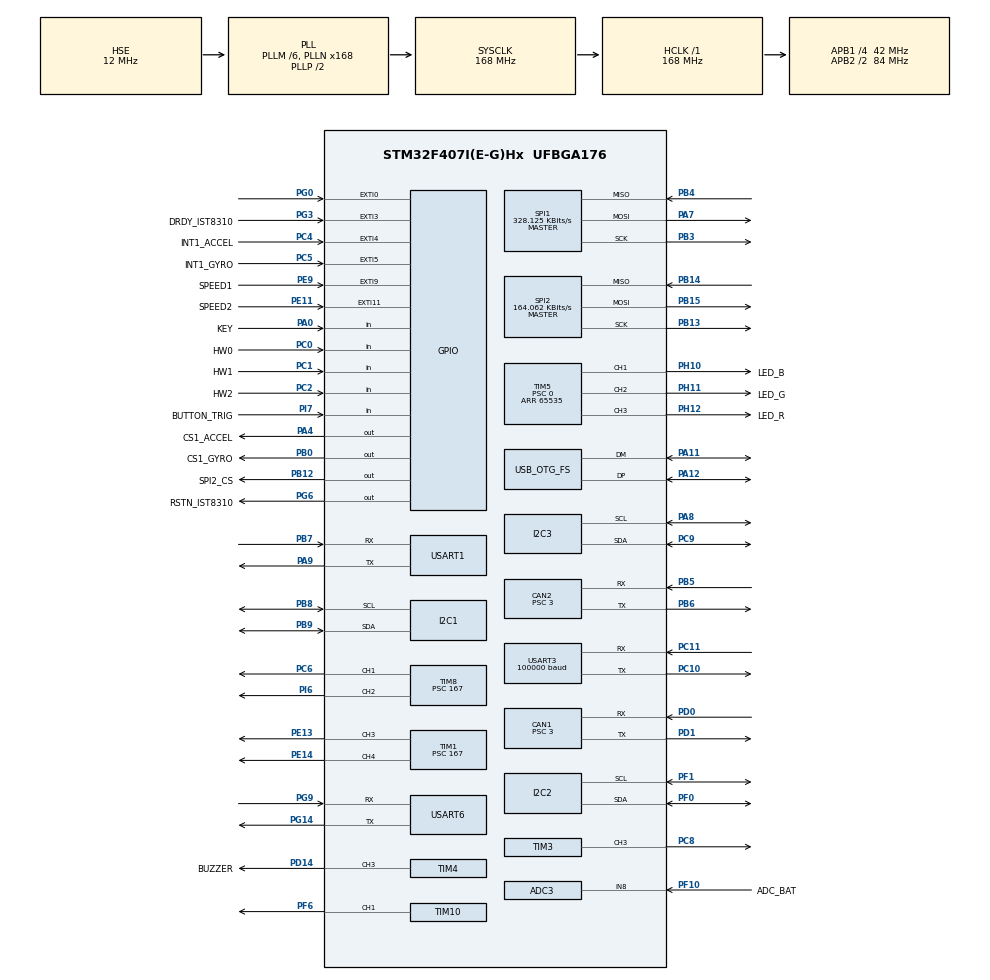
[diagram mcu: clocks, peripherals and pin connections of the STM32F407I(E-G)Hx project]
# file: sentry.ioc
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ADC1.Channel-0\#ChannelRegularConversion=ADC_CHANNEL_TEMPSENSOR
ADC1.ClockPrescaler=ADC_CLOCK_SYNC_PCLK_DIV6
ADC1.NbrOfConversionFlag=1
ADC1.Rank-0\#ChannelRegularConversion=1
ADC1.SamplingTime-0\#ChannelRegularConversion=ADC_SAMPLETIME_3CYCLES
ADC1.master=1
ADC3.Channel-0\#ChannelRegularConversion=ADC_CHANNEL_8
ADC3.ClockPrescaler=ADC_CLOCK_SYNC_PCLK_DIV6
ADC3.NbrOfConversionFlag=1
ADC3.Rank-0\#ChannelRegularConversion=1
ADC3.SamplingTime-0\#ChannelRegularConversion=ADC_SAMPLETIME_3CYCLES
CAN1.BS1=CAN_BS1_10TQ
CAN1.BS2=CAN_BS2_3TQ
CAN1.CalculateBaudRate=1000000
CAN1.CalculateTimeQuantum=71.42857142857143
CAN1.Prescaler=3
CAN2.BS1=CAN_BS1_10TQ
CAN2.BS2=CAN_BS2_3TQ
CAN2.CalculateBaudRate=1000000
CAN2.CalculateTimeQuantum=71.42857142857143
CAN2.Prescaler=3
Dma.I2C2_TX.2.Direction=DMA_MEMORY_TO_PERIPH
Dma.I2C2_TX.2.FIFOMode=DMA_FIFOMODE_DISABLE
Dma.I2C2_TX.2.Instance=DMA1_Stream7
Dma.I2C2_TX.2.MemDataAlignment=DMA_MDATAALIGN_BYTE
Dma.I2C2_TX.2.MemInc=DMA_MINC_ENABLE
Dma.I2C2_TX.2.Mode=DMA_NORMAL
Dma.I2C2_TX.2.PeriphDataAlignment=DMA_PDATAALIGN_BYTE
Dma.I2C2_TX.2.PeriphInc=DMA_PINC_DISABLE
Dma.I2C2_TX.2.Priority=DMA_PRIORITY_HIGH
Dma.Request0=SPI1_RX
Dma.Request1=SPI1_TX
Dma.Request2=I2C2_TX
Dma.Request3=USART3_RX
Dma.Request4=USART6_RX
Dma.Request5=USART6_TX
Dma.Request6=USART1_TX
Dma.Request7=USART1_RX
Dma.SPI1_RX.0.Direction=DMA_PERIPH_TO_MEMORY
Dma.SPI1_RX.0.FIFOMode=DMA_FIFOMODE_DISABLE
Dma.SPI1_RX.0.Instance=DMA2_Stream2
Dma.SPI1_RX.0.MemDataAlignment=DMA_MDATAALIGN_BYTE
Dma.SPI1_RX.0.MemInc=DMA_MINC_ENABLE
Dma.SPI1_RX.0.Mode=DMA_NORMAL
Dma.SPI1_RX.0.PeriphDataAlignment=DMA_PDATAALIGN_BYTE
Dma.SPI1_RX.0.PeriphInc=DMA_PINC_DISABLE
Dma.SPI1_RX.0.Priority=DMA_PRIORITY_VERY_HIGH
Dma.SPI1_TX.1.Direction=DMA_MEMORY_TO_PERIPH
Dma.SPI1_TX.1.FIFOMode=DMA_FIFOMODE_DISABLE
Dma.SPI1_TX.1.Instance=DMA2_Stream3
Dma.SPI1_TX.1.MemDataAlignment=DMA_MDATAALIGN_BYTE
Dma.SPI1_TX.1.MemInc=DMA_MINC_ENABLE
Dma.SPI1_TX.1.Mode=DMA_NORMAL
Dma.SPI1_TX.1.PeriphDataAlignment=DMA_PDATAALIGN_BYTE
Dma.SPI1_TX.1.PeriphInc=DMA_PINC_DISABLE
Dma.SPI1_TX.1.Priority=DMA_PRIORITY_HIGH
Dma.USART1_RX.7.Direction=DMA_PERIPH_TO_MEMORY
Dma.USART1_RX.7.FIFOMode=DMA_FIFOMODE_DISABLE
Dma.USART1_RX.7.Instance=DMA2_Stream5
Dma.USART1_RX.7.MemDataAlignment=DMA_MDATAALIGN_BYTE
Dma.USART1_RX.7.MemInc=DMA_MINC_ENABLE
Dma.USART1_RX.7.Mode=DMA_NORMAL
Dma.USART1_RX.7.PeriphDataAlignment=DMA_PDATAALIGN_BYTE
Dma.USART1_RX.7.PeriphInc=DMA_PINC_DISABLE
Dma.USART1_RX.7.Priority=DMA_PRIORITY_LOW
Dma.USART1_TX.6.Direction=DMA_MEMORY_TO_PERIPH
Dma.USART1_TX.6.FIFOMode=DMA_FIFOMODE_DISABLE
Dma.USART1_TX.6.Instance=DMA2_Stream7
Dma.USART1_TX.6.MemDataAlignment=DMA_MDATAALIGN_BYTE
Dma.USART1_TX.6.MemInc=DMA_MINC_ENABLE
Dma.USART1_TX.6.Mode=DMA_NORMAL
Dma.USART1_TX.6.PeriphDataAlignment=DMA_PDATAALIGN_BYTE
Dma.USART1_TX.6.PeriphInc=DMA_PINC_DISABLE
Dma.USART1_TX.6.Priority=DMA_PRIORITY_MEDIUM
Dma.USART3_RX.3.Direction=DMA_PERIPH_TO_MEMORY
Dma.USART3_RX.3.FIFOMode=DMA_FIFOMODE_DISABLE
Dma.USART3_RX.3.Instance=DMA1_Stream1
Dma.USART3_RX.3.MemDataAlignment=DMA_MDATAALIGN_BYTE
Dma.USART3_RX.3.MemInc=DMA_MINC_ENABLE
Dma.USART3_RX.3.Mode=DMA_NORMAL
Dma.USART3_RX.3.PeriphDataAlignment=DMA_PDATAALIGN_BYTE
Dma.USART3_RX.3.PeriphInc=DMA_PINC_DISABLE
Dma.USART3_RX.3.Priority=DMA_PRIORITY_HIGH
Dma.USART6_RX.4.Direction=DMA_PERIPH_TO_MEMORY
Dma.USART6_RX.4.FIFOMode=DMA_FIFOMODE_DISABLE
Dma.USART6_RX.4.Instance=DMA2_Stream1
Dma.USART6_RX.4.MemDataAlignment=DMA_MDATAALIGN_BYTE
Dma.USART6_RX.4.MemInc=DMA_MINC_ENABLE
Dma.USART6_RX.4.Mode=DMA_NORMAL
Dma.USART6_RX.4.PeriphDataAlignment=DMA_PDATAALIGN_BYTE
Dma.USART6_RX.4.PeriphInc=DMA_PINC_DISABLE
Dma.USART6_RX.4.Priority=DMA_PRIORITY_HIGH
Dma.USART6_TX.5.Direction=DMA_MEMORY_TO_PERIPH
Dma.USART6_TX.5.FIFOMode=DMA_FIFOMODE_DISABLE
Dma.USART6_TX.5.Instance=DMA2_Stream6
Dma.USART6_TX.5.MemDataAlignment=DMA_MDATAALIGN_BYTE
Dma.USART6_TX.5.MemInc=DMA_MINC_ENABLE
Dma.USART6_TX.5.Mode=DMA_NORMAL
Dma.USART6_TX.5.PeriphDataAlignment=DMA_PDATAALIGN_BYTE
Dma.USART6_TX.5.PeriphInc=DMA_PINC_DISABLE
Dma.USART6_TX.5.Priority=DMA_PRIORITY_MEDIUM
FREERTOS.INCLUDE_eTaskGetState=1
FREERTOS.INCLUDE_pcTaskGetTaskName=1
FREERTOS.INCLUDE_uxTaskGetStackHighWaterMark=1
FREERTOS.INCLUDE_vTaskCleanUpResources=1
FREERTOS.INCLUDE_vTaskDelayUntil=1
FREERTOS.INCLUDE_xEventGroupSetBitFromISR=1
FREERTOS.INCLUDE_xQueueGetMutexHolder=1
FREERTOS.INCLUDE_xSemaphoreGetMutexHolder=1
FREERTOS.INCLUDE_xTaskAbortDelay=1
FREERTOS.INCLUDE_xTaskGetCurrentTaskHandle=1
FREERTOS.INCLUDE_xTaskGetHandle=1
FREERTOS.INCLUDE_xTimerPendFunctionCall=1
FREERTOS.Tasks01=test,24,128,test_task,As weak,NULL,Dynamic,NULL,NULL
FREERTOS.configTOTAL_HEAP_SIZE=24576
I2C1.I2C_Mode=I2C_Fast
I2C2.I2C_Mode=I2C_Fast
I2C3.I2C_Mode=I2C_Fast
Mcu.Family=STM32F4
Mcu.Name=STM32F407I(E-G)Hx
Mcu.Package=UFBGA176
NVIC.CAN1_RX0_IRQn=true\:6\:0\:true\:false\:true\:true\:true\:true\:true
NVIC.CAN2_RX0_IRQn=true\:6\:0\:true\:false\:true\:true\:true\:true\:true
NVIC.DMA1_Stream1_IRQn=true\:5\:0\:true\:false\:false\:true\:false\:false\:true
NVIC.DMA1_Stream7_IRQn=true\:5\:0\:true\:false\:false\:true\:false\:true\:true
NVIC.DMA2_Stream1_IRQn=true\:5\:0\:true\:false\:true\:true\:false\:true\:true
NVIC.DMA2_Stream2_IRQn=true\:5\:0\:true\:false\:false\:true\:false\:true\:true
NVIC.DMA2_Stream3_IRQn=true\:5\:0\:true\:false\:false\:true\:false\:true\:true
NVIC.DMA2_Stream5_IRQn=true\:5\:0\:false\:false\:true\:true\:false\:true\:true
NVIC.DMA2_Stream6_IRQn=true\:5\:0\:true\:false\:true\:true\:false\:true\:true
NVIC.DMA2_Stream7_IRQn=true\:5\:0\:true\:false\:true\:true\:false\:true\:true
NVIC.EXTI0_IRQn=true\:6\:0\:true\:false\:true\:true\:true\:true\:true
NVIC.EXTI15_10_IRQn=true\:5\:0\:false\:false\:true\:true\:true\:true\:true
NVIC.EXTI3_IRQn=true\:5\:0\:true\:false\:true\:true\:true\:true\:true
NVIC.EXTI4_IRQn=true\:5\:0\:true\:false\:true\:true\:true\:true\:true
NVIC.EXTI9_5_IRQn=true\:5\:0\:true\:false\:true\:true\:true\:true\:true
NVIC.OTG_FS_IRQn=true\:5\:0\:false\:false\:true\:true\:false\:true\:true
NVIC.PriorityGroup=NVIC_PRIORITYGROUP_4
NVIC.USART1_IRQn=true\:5\:0\:false\:false\:true\:true\:true\:true\:true
NVIC.USART3_IRQn=true\:4\:0\:true\:false\:false\:false\:true\:true\:true
NVIC.USART6_IRQn=true\:5\:0\:true\:false\:false\:true\:true\:true\:true
PA0-WKUP.GPIO_Label=KEY
PA0-WKUP.GPIO_PuPd=GPIO_PULLUP
PA0-WKUP.Signal=GPIO_Input
PA11.Mode=Device_Only
PA11.Signal=USB_OTG_FS_DM
PA12.Mode=Device_Only
PA12.Signal=USB_OTG_FS_DP
PA13.Mode=Serial_Wire
PA13.Signal=SYS_JTMS-SWDIO
PA14.Mode=Serial_Wire
PA14.Signal=SYS_JTCK-SWCLK
PA4.GPIO_Label=CS1_ACCEL
PA4.GPIO_PuPd=GPIO_PULLUP
PA4.GPIO_Speed=GPIO_SPEED_FREQ_HIGH
PA4.PinState=GPIO_PIN_SET
PA4.Signal=GPIO_Output
PA7.GPIO_PuPd=GPIO_PULLUP
PA7.Mode=Full_Duplex_Master
PA7.Signal=SPI1_MOSI
PA8.GPIO_Pu=GPIO_PULLUP
PA8.Mode=I2C
PA8.Signal=I2C3_SCL
PA9.Mode=Asynchronous
PA9.Signal=USART1_TX
PB0.GPIO_Label=CS1_GYRO
PB0.GPIO_PuPd=GPIO_PULLUP
PB0.GPIO_Speed=GPIO_SPEED_FREQ_HIGH
PB0.PinState=GPIO_PIN_SET
PB0.Signal=GPIO_Output
PB12.GPIO_Label=SPI2_CS
PB12.GPIO_PuPd=GPIO_PULLUP
PB12.GPIO_Speed=GPIO_SPEED_FREQ_MEDIUM
PB12.PinState=GPIO_PIN_SET
PB12.Signal=GPIO_Output
PB13.GPIO_PuPd=GPIO_PULLUP
PB13.Mode=Full_Duplex_Master
PB13.Signal=SPI2_SCK
PB14.GPIO_PuPd=GPIO_PULLUP
PB14.Mode=Full_Duplex_Master
PB14.Signal=SPI2_MISO
PB15.GPIO_PuPd=GPIO_PULLUP
PB15.Mode=Full_Duplex_Master
PB15.Signal=SPI2_MOSI
PB3.GPIO_PuPd=GPIO_PULLUP
PB3.Mode=Full_Duplex_Master
PB3.Signal=SPI1_SCK
PB4.GPIO_PuPd=GPIO_PULLUP
PB4.Mode=Full_Duplex_Master
PB4.Signal=SPI1_MISO
PB5.Mode=CAN_Activate
PB5.Signal=CAN2_RX
PB6.Mode=CAN_Activate
PB6.Signal=CAN2_TX
PB7.Mode=Asynchronous
PB7.Signal=USART1_RX
PB8.GPIO_Pu=GPIO_PULLUP
PB8.Mode=I2C
PB8.Signal=I2C1_SCL
PB9.GPIO_Pu=GPIO_PULLUP
PB9.Mode=I2C
PB9.Signal=I2C1_SDA
PC0.GPIO_Label=HW0
PC0.Signal=GPIO_Input
PC1.GPIO_Label=HW1
PC1.Signal=GPIO_Input
PC10.Mode=Asynchronous
PC10.Signal=USART3_TX
PC11.Mode=Asynchronous
PC11.Signal=USART3_RX
PC2.GPIO_Label=HW2
PC2.Signal=GPIO_Input
PC4.GPIO_Label=INT1_ACCEL
PC4.GPIO_ModeDefaultEXTI=GPIO_MODE_IT_FALLING
PC4.GPIO_PuPd=GPIO_PULLUP
PC4.Signal=GPXTI4
PC5.GPIO_Label=INT1_GYRO
PC5.GPIO_ModeDefaultEXTI=GPIO_MODE_IT_FALLING
PC5.GPIO_PuPd=GPIO_PULLUP
PC5.Signal=GPXTI5
PC6.GPIO_PuPd=GPIO_PULLUP
PC6.GPIO_Speed=GPIO_SPEED_FREQ_HIGH
PC6.Signal=S_TIM8_CH1
PC8.GPIO_PuPd=GPIO_PULLUP
PC8.GPIO_Speed=GPIO_SPEED_FREQ_HIGH
PC8.Signal=S_TIM3_CH3
PC9.GPIO_Pu=GPIO_PULLUP
PC9.Mode=I2C
PC9.Signal=I2C3_SDA
PD0.Mode=CAN_Activate
PD0.Signal=CAN1_RX
PD1.Mode=CAN_Activate
PD1.Signal=CAN1_TX
PD14.GPIO_Label=BUZZER
PD14.GPIO_PuPd=GPIO_PULLUP
PD14.GPIO_Speed=GPIO_SPEED_FREQ_VERY_HIGH
PD14.Signal=S_TIM4_CH3
PE11.GPIO_Label=SPEED2
PE11.GPIO_ModeDefaultEXTI=GPIO_MODE_IT_RISING
PE11.GPIO_PuPd=GPIO_NOPULL
PE11.Signal=GPXTI11
PE13.GPIO_PuPd=GPIO_PULLUP
PE13.GPIO_Speed=GPIO_SPEED_FREQ_HIGH
PE13.Signal=S_TIM1_CH3
PE14.GPIO_PuPd=GPIO_PULLUP
PE14.GPIO_Speed=GPIO_SPEED_FREQ_HIGH
PE14.Signal=S_TIM1_CH4
PE9.GPIO_Label=SPEED1
PE9.GPIO_ModeDefaultEXTI=GPIO_MODE_IT_RISING
PE9.GPIO_PuPd=GPIO_NOPULL
PE9.Signal=GPXTI9
PF0.GPIO_Pu=GPIO_PULLUP
PF0.Mode=I2C
PF0.Signal=I2C2_SDA
PF1.GPIO_Pu=GPIO_PULLUP
PF1.Mode=I2C
PF1.Signal=I2C2_SCL
PF10.GPIO_Label=ADC_BAT
PF10.Mode=IN8
PF10.Signal=ADC3_IN8
PF6.GPIO_PuPd=GPIO_PULLUP
PF6.GPIO_Speed=GPIO_SPEED_FREQ_HIGH
PF6.Signal=S_TIM10_CH1
PG0.GPIO_ModeDefaultEXTI=GPIO_MODE_IT_FALLING
PG0.GPIO_PuPd=GPIO_PULLUP
PG0.Signal=GPXTI0
PG14.Mode=Asynchronous
PG14.Signal=USART6_TX
PG3.GPIO_Label=DRDY_IST8310
PG3.GPIO_ModeDefaultEXTI=GPIO_MODE_IT_FALLING
PG3.GPIO_PuPd=GPIO_PULLUP
PG3.Signal=GPXTI3
PG6.GPIO_Label=RSTN_IST8310
PG6.GPIO_PuPd=GPIO_PULLUP
PG6.GPIO_Speed=GPIO_SPEED_FREQ_MEDIUM
PG6.PinState=GPIO_PIN_SET
PG6.Signal=GPIO_Output
PG9.Mode=Asynchronous
PG9.Signal=USART6_RX
PH0-OSC_IN.Mode=HSE-External-Oscillator
PH0-OSC_IN.Signal=RCC_OSC_IN
PH1-OSC_OUT.Mode=HSE-External-Oscillator
PH1-OSC_OUT.Signal=RCC_OSC_OUT
PH10.GPIO_Label=LED_B
PH10.GPIO_PuPd=GPIO_PULLUP
PH10.GPIO_Speed=GPIO_SPEED_FREQ_HIGH
PH10.Signal=S_TIM5_CH1
PH11.GPIO_Label=LED_G
PH11.GPIO_PuPd=GPIO_PULLUP
PH11.GPIO_Speed=GPIO_SPEED_FREQ_HIGH
PH11.Signal=S_TIM5_CH2
PH12.GPIO_Label=LED_R
PH12.GPIO_PuPd=GPIO_PULLUP
PH12.GPIO_Speed=GPIO_SPEED_FREQ_HIGH
PH12.Signal=S_TIM5_CH3
PI6.GPIO_PuPd=GPIO_PULLUP
PI6.GPIO_Speed=GPIO_SPEED_FREQ_HIGH
PI6.Signal=S_TIM8_CH2
PI7.GPIO_Label=BUTTON_TRIG
PI7.GPIO_PuPd=GPIO_PULLUP
PI7.Signal=GPIO_Input
ProjectManager.HeapSize=0x2000
ProjectManager.StackSize=0x2000
ProjectManager.TargetToolchain=MDK-ARM V5
RCC.48MHZClocksFreq_Value=48000000
RCC.AHBFreq_Value=168000000
RCC.APB1CLKDivider=RCC_HCLK_DIV4
RCC.APB1Freq_Value=42000000
RCC.APB1TimFreq_Value=84000000
RCC.APB2CLKDivider=RCC_HCLK_DIV2
RCC.APB2Freq_Value=84000000
RCC.APB2TimFreq_Value=168000000
RCC.CortexFreq_Value=168000000
RCC.HCLKFreq_Value=168000000
RCC.HSE_VALUE=12000000
RCC.HSI_VALUE=16000000
RCC.LSE_VALUE=32768
RCC.PLLM=6
RCC.PLLN=168
RCC.PLLQ=7
RCC.RCC_RTC_Clock_SourceVirtual=RCC_RTCCLKSOURCE_HSE_DIV30
RCC.RCC_RTC_Clock_Source_FROM_HSE=RCC_RTCCLKSOURCE_HSE_DIV30
RCC.SYSCLKFreq_VALUE=168000000
RCC.SYSCLKSource=RCC_SYSCLKSOURCE_PLLCLK
RCC.VCOOutputFreq_Value=336000000
RTC.AsynchPrediv=124
RTC.SynchPrediv=3199
SH.S_TIM10_CH1.0=TIM10_CH1,PWM Generation1 CH1
SH.S_TIM1_CH3.0=TIM1_CH3,PWM Generation3 CH3
SH.S_TIM1_CH4.0=TIM1_CH4,PWM Generation4 CH4
SH.S_TIM3_CH3.0=TIM3_CH3,PWM Generation3 CH3
SH.S_TIM4_CH3.0=TIM4_CH3,PWM Generation3 CH3
SH.S_TIM5_CH1.0=TIM5_CH1,PWM Generation1 CH1
SH.S_TIM5_CH2.0=TIM5_CH2,PWM Generation2 CH2
SH.S_TIM5_CH3.0=TIM5_CH3,PWM Generation3 CH3
SH.S_TIM8_CH1.0=TIM8_CH1,PWM Generation1 CH1
SH.S_TIM8_CH2.0=TIM8_CH2,PWM Generation2 CH2
SPI1.BaudRatePrescaler=SPI_BAUDRATEPRESCALER_256
SPI1.CLKPhase=SPI_PHASE_2EDGE
SPI1.CLKPolarity=SPI_POLARITY_HIGH
SPI1.CalculateBaudRate=328.125 KBits/s
SPI1.Direction=SPI_DIRECTION_2LINES
SPI1.Mode=SPI_MODE_MASTER
SPI1.VirtualType=VM_MASTER
SPI2.BaudRatePrescaler=SPI_BAUDRATEPRESCALER_256
SPI2.CLKPhase=SPI_PHASE_2EDGE
SPI2.CLKPolarity=SPI_POLARITY_HIGH
SPI2.CalculateBaudRate=164.062 KBits/s
SPI2.Direction=SPI_DIRECTION_2LINES
SPI2.Mode=SPI_MODE_MASTER
SPI2.VirtualType=VM_MASTER
TIM1.Channel-PWM\ Generation3\ CH3=TIM_CHANNEL_3
TIM1.Channel-PWM\ Generation4\ CH4=TIM_CHANNEL_4
TIM1.Period=19999
TIM1.Prescaler=167
TIM1.Pulse-PWM\ Generation3\ CH3=1000
TIM1.Pulse-PWM\ Generation4\ CH4=1000
TIM10.Channel=TIM_CHANNEL_1
TIM10.Period=4999
TIM3.Channel-PWM\ Generation3\ CH3=TIM_CHANNEL_3
TIM3.Period=8399
TIM4.Channel-PWM\ Generation3\ CH3=TIM_CHANNEL_3
TIM4.Period=65535
TIM4.Prescaler=167
TIM5.Channel-PWM\ Generation1\ CH1=TIM_CHANNEL_1
TIM5.Channel-PWM\ Generation2\ CH2=TIM_CHANNEL_2
TIM5.Channel-PWM\ Generation3\ CH3=TIM_CHANNEL_3
TIM5.Period=65535
TIM5.Prescaler=0
TIM8.Channel-PWM\ Generation1\ CH1=TIM_CHANNEL_1
TIM8.Channel-PWM\ Generation2\ CH2=TIM_CHANNEL_2
TIM8.Period=19999
TIM8.Prescaler=167
TIM8.Pulse-PWM\ Generation1\ CH1=1000
TIM8.Pulse-PWM\ Generation2\ CH2=1000
USART1.VirtualMode=VM_ASYNC
USART3.BaudRate=100000
USART3.Parity=PARITY_EVEN
USART3.VirtualMode=VM_ASYNC
USART6.VirtualMode=VM_ASYNC
USB_DEVICE.CLASS_NAME_FS=CDC
USB_DEVICE.VirtualMode-CDC_FS=Cdc
USB_DEVICE.VirtualModeFS=Cdc_FS
USB_OTG_FS.VirtualMode=Device_Only
VP_ADC1_TempSens_Input.Mode=IN-TempSens
VP_ADC1_Vref_Input.Mode=IN-Vrefint
VP_CRC_VS_CRC.Mode=CRC_Activate
VP_FREERTOS_VS_CMSIS_V1.Mode=CMSIS_V1
VP_RNG_VS_RNG.Mode=RNG_Activate
VP_RTC_VS_RTC_Activate.Mode=RTC_Enabled
VP_TIM10_VS_ClockSourceINT.Mode=Enable_Timer
VP_TIM1_VS_ClockSourceINT.Mode=Internal
VP_TIM3_VS_ClockSourceINT.Mode=Internal
VP_TIM4_VS_ClockSourceINT.Mode=Internal
VP_TIM5_VS_ClockSourceINT.Mode=Internal
VP_TIM8_VS_ClockSourceINT.Mode=Internal
VP_USB_DEVICE_VS_USB_DEVICE_CDC_FS.Mode=CDC_FS
board=custom

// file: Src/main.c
/* USER CODE BEGIN Header */
/**
  ******************************************************************************
  * @file           : main.c
  * @brief          : Main program body
  ******************************************************************************
  * @attention
  *
  * <h2><center>&copy; Copyright (c) 2019 STMicroelectronics.
  * All rights reserved.</center></h2>
  *
  * This software component is licensed by ST under Ultimate Liberty license
  * SLA0044, the "License"; You may not use this file except in compliance with
  * the License. You may obtain a copy of the License at:
  *                             www.st.com/SLA0044
  *
  ******************************************************************************
  */
/* USER CODE END Header */
#include "main.h"
#include "cmsis_os.h"
#include "adc.h"
#include "can.h"
#include "crc.h"
#include "dma.h"
#include "i2c.h"
#include "rng.h"
#include "rtc.h"
#include "spi.h"
#include "tim.h"
#include "usart.h"
#include "usb_device.h"
#include "gpio.h"

/* USER CODE BEGIN Includes */
#include "bsp_can.h"
#include "bsp_delay.h"
#include "bsp_usart.h"
#include "remote_control.h"
#include "gimbal_task.h"
#include "USART_receive.h"
#include "SEGGER_SYSVIEW.h"
/* USER CODE END Includes */

void SystemClock_Config(void);
void MX_FREERTOS_Init(void);

int main(void)
{

  /* MCU Configuration--------------------------------------------------------*/

  /* Reset of all peripherals, Initializes the Flash interface and the Systick. */
  HAL_Init();

  /* Configure the system clock */
  SystemClock_Config();

  /* Initialize all configured peripherals */
  MX_GPIO_Init();
  MX_DMA_Init();
  MX_ADC1_Init();
  MX_ADC3_Init();
  MX_CAN1_Init();
  MX_CAN2_Init();
  MX_I2C1_Init();
  MX_SPI1_Init();
  MX_TIM4_Init();
  MX_TIM5_Init();
  MX_USART3_UART_Init();
  MX_TIM8_Init();
  MX_CRC_Init();
  MX_RNG_Init();
  MX_I2C2_Init();
  MX_I2C3_Init();
  MX_RTC_Init();
  MX_SPI2_Init();
  MX_TIM1_Init();
  MX_TIM3_Init();
  MX_TIM10_Init();
  MX_USART1_UART_Init();
  MX_USART6_UART_Init();
  /* USER CODE BEGIN 2 */
  can_filter_init();
  delay_init();
  remote_control_init();
  user_usart_init();//与上位机通信串口初始化
	SEGGER_SYSVIEW_Conf();
  /* USER CODE END 2 */
    /*蜂鸣器的PWM启动*/
    HAL_TIM_Base_Start(&htim4);
    HAL_TIM_PWM_Start(&htim4, TIM_CHANNEL_3);
  /* Call init function for freertos objects (in freertos.c) */
  MX_FREERTOS_Init();//任务初始化

  /* Start scheduler */
  osKernelStart();//启动调度器，即开启任务

  /* We should never get here as control is now taken by the scheduler */
  /* Infinite loop */
  while (1)
  {

  }
}

void SystemClock_Config(void)
{
  RCC_OscInitTypeDef RCC_OscInitStruct = {0};
  RCC_ClkInitTypeDef RCC_ClkInitStruct = {0};

  /** Configure the main internal regulator output voltage
  */
  __HAL_RCC_PWR_CLK_ENABLE();
  __HAL_PWR_VOLTAGESCALING_CONFIG(PWR_REGULATOR_VOLTAGE_SCALE1);

  /** Initializes the RCC Oscillators according to the specified parameters
  * in the RCC_OscInitTypeDef structure.
  */
  RCC_OscInitStruct.OscillatorType = RCC_OSCILLATORTYPE_HSE;
  RCC_OscInitStruct.HSEState = RCC_HSE_ON;
  RCC_OscInitStruct.PLL.PLLState = RCC_PLL_ON;
  RCC_OscInitStruct.PLL.PLLSource = RCC_PLLSOURCE_HSE;
  RCC_OscInitStruct.PLL.PLLM = 6;
  RCC_OscInitStruct.PLL.PLLN = 168;
  RCC_OscInitStruct.PLL.PLLP = RCC_PLLP_DIV2;
  RCC_OscInitStruct.PLL.PLLQ = 7;
  if (HAL_RCC_OscConfig(&RCC_OscInitStruct) != HAL_OK)
  {
    Error_Handler();
  }

  /** Initializes the CPU, AHB and APB buses clocks
  */
  RCC_ClkInitStruct.ClockType = RCC_CLOCKTYPE_HCLK|RCC_CLOCKTYPE_SYSCLK
                              |RCC_CLOCKTYPE_PCLK1|RCC_CLOCKTYPE_PCLK2;
  RCC_ClkInitStruct.SYSCLKSource = RCC_SYSCLKSOURCE_PLLCLK;
  RCC_ClkInitStruct.AHBCLKDivider = RCC_SYSCLK_DIV1;
  RCC_ClkInitStruct.APB1CLKDivider = RCC_HCLK_DIV4;
  RCC_ClkInitStruct.APB2CLKDivider = RCC_HCLK_DIV2;

  if (HAL_RCC_ClockConfig(&RCC_ClkInitStruct, FLASH_LATENCY_5) != HAL_OK)
  {
    Error_Handler();
  }
}

void Error_Handler(void)
{
}

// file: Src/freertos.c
/* USER CODE BEGIN Header */
/**
 ******************************************************************************
 * File Name          : freertos.c
 * Description        : Code for freertos applications
 ******************************************************************************
 * @attention
 *
 * @copyright Copyright (c) 2022 SPR
 * All rights reserved.</center></h2>
 *
 * �ڴ˴���������
 * osThreadId����������
 * osThreadDef�������񲢷����������ȼ�����ջ��С�����漰�������ݴ���������Ӧ�ʵ�������ջ�ռ�
 * osThreadCreate�������񣬷��ؾ��
 * ��TaskĿ¼�±�д��Ӧ�������
 *
 *
 ******************************************************************************
 */
/* USER CODE END Header */

#include "FreeRTOS.h"
#include "task.h"
#include "main.h"
#include "cmsis_os.h"

/* USER CODE BEGIN Includes */

#include "gimbal_task.h"
#include "INS_task.h"
#include "referee_usart_task.h"
#include "shoot_task.h"
#include "detect_task.h"
#include "config.h"
#include "radar_task.h"

/* USER CODE END Includes */

/* USER CODE BEGIN Variables */
osThreadId chassisTaskHandle;
osThreadId gimbalTaskHandle;
osThreadId imuTaskHandle;
osThreadId referee_usartTaskHandle;
osThreadId servoTaskHandle;
osThreadId detectTaskHandle;
osThreadId testHandle;
osThreadId fireTaskHandle;

/* USER CODE END Variables */
osThreadId testHandle;

void test_task(void const * argument);

extern void MX_USB_DEVICE_Init(void);
void MX_FREERTOS_Init(void); /* (MISRA C 2004 rule 8.1) */

/* GetIdleTaskMemory prototype (linked to static allocation support) */
void vApplicationGetIdleTaskMemory( StaticTask_t **ppxIdleTaskTCBBuffer, StackType_t **ppxIdleTaskStackBuffer, uint32_t *pulIdleTaskStackSize );

/* GetTimerTaskMemory prototype (linked to static allocation support) */
void vApplicationGetTimerTaskMemory( StaticTask_t **ppxTimerTaskTCBBuffer, StackType_t **ppxTimerTaskStackBuffer, uint32_t *pulTimerTaskStackSize );

/* USER CODE BEGIN GET_IDLE_TASK_MEMORY */
static StaticTask_t xIdleTaskTCBBuffer;
static StackType_t xIdleStack[configMINIMAL_STACK_SIZE];

void vApplicationGetIdleTaskMemory(StaticTask_t **ppxIdleTaskTCBBuffer, StackType_t **ppxIdleTaskStackBuffer, uint32_t *pulIdleTaskStackSize)
{
  *ppxIdleTaskTCBBuffer = &xIdleTaskTCBBuffer;
  *ppxIdleTaskStackBuffer = &xIdleStack[0];
  *pulIdleTaskStackSize = configMINIMAL_STACK_SIZE;
  /* place for user code */
}
/* USER CODE END GET_IDLE_TASK_MEMORY */

/* USER CODE BEGIN GET_TIMER_TASK_MEMORY */
static StaticTask_t xTimerTaskTCBBuffer;
static StackType_t xTimerStack[configTIMER_TASK_STACK_DEPTH];

void vApplicationGetTimerTaskMemory(StaticTask_t **ppxTimerTaskTCBBuffer, StackType_t **ppxTimerTaskStackBuffer, uint32_t *pulTimerTaskStackSize)
{
  *ppxTimerTaskTCBBuffer = &xTimerTaskTCBBuffer;
  *ppxTimerTaskStackBuffer = &xTimerStack[0];
  *pulTimerTaskStackSize = configTIMER_TASK_STACK_DEPTH;
  /* place for user code */
}
/* USER CODE END GET_TIMER_TASK_MEMORY */

void MX_FREERTOS_Init(void) {

  /* Create the thread(s) */
  /* definition and creation of test */
  osThreadDef(test, test_task, osPriorityNormal, 0, 128);
  testHandle = osThreadCreate(osThread(test), NULL);

  /* USER CODE BEGIN RTOS_THREADS */
  /* add threads, ... */
#ifdef GIMBAL_TASK
  osThreadDef(gimbalTask, gimbal_task, osPriorityHigh, 0, 512);
  gimbalTaskHandle = osThreadCreate(osThread(gimbalTask), NULL);
#endif
#ifdef REFEREE_TASK
  osThreadDef(REFEREE, referee_usart_task, osPriorityHigh, 0, 128);
  referee_usartTaskHandle = osThreadCreate(osThread(REFEREE), NULL);
#endif
#ifdef SHOOT_TASK
  osThreadDef(shootTask, fire_task, osPriorityHigh, 0, 512);
  fireTaskHandle = osThreadCreate(osThread(shootTask), NULL);
#endif
#ifdef DETECT_TASK
  osThreadDef(detectTask, detect_task, osPriorityHigh, 0, 256);
  detectTaskHandle = osThreadCreate(osThread(detectTask), NULL);
#endif
#ifdef INS_TASK
  osThreadDef(imuTask, INS_task, osPriorityRealtime, 0, 1024);
  imuTaskHandle = osThreadCreate(osThread(imuTask), NULL);
#endif
  /* USER CODE END RTOS_THREADS */

}

__weak void test_task(void const * argument)
{
  /* init code for USB_DEVICE */
  MX_USB_DEVICE_Init();
  for (;;)
  {
    osDelay(1);
  }
}
